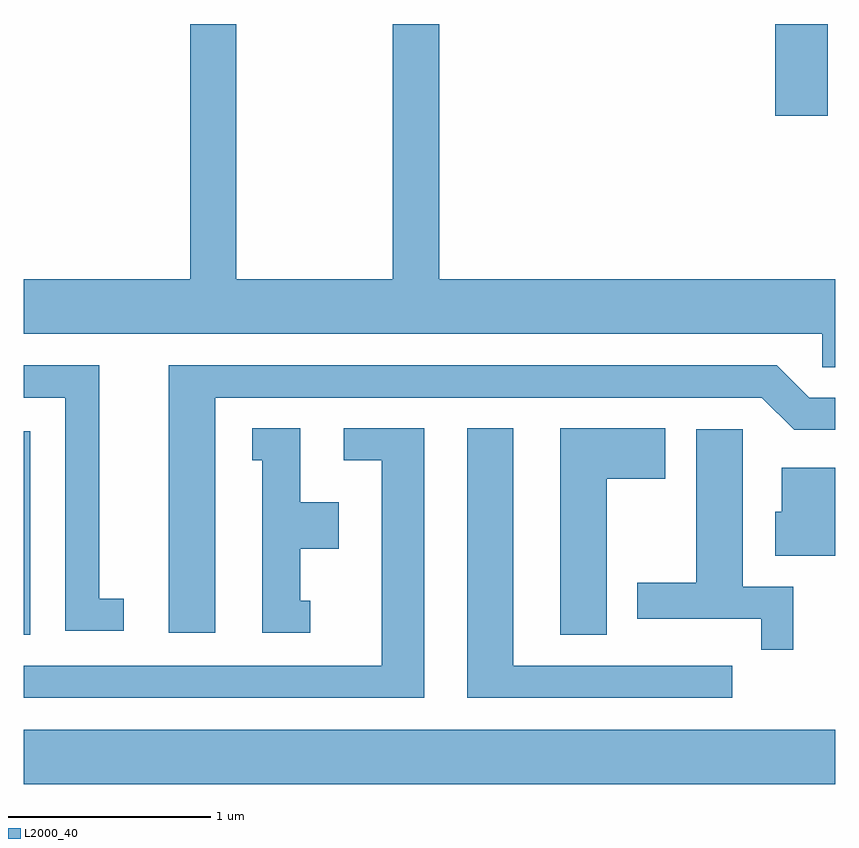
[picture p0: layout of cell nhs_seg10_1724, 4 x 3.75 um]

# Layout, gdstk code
import gdstk
lib = gdstk.Library(unit=1e-6, precision=1e-09)
def R(c, l, rs):  # rectangles x0, y0, x1, y1
    for r in rs: c.add(gdstk.rectangle(r[:2], r[2:], *l))
def P(c, l, *ps):  # polygons
    for p in ps: c.add(gdstk.Polygon(p, *l))
L2000_40 = (2000, 40)

nhs_seg10_1724 = lib.new_cell('nhs_seg10_1724')
R(nhs_seg10_1724, L2000_40, [(235.611,2142.776,239.611,2143.044), (235.611,2143.511,235.644,2144.514), (239.316,2146.071,239.574,2146.522)])
P(nhs_seg10_1724, L2000_40, [(239.611,2145.264),(237.659,2145.264),(237.659,2146.522),(237.431,2146.522),(237.431,2145.264),(236.659,2145.264),(236.659,2146.522),(236.431,2146.522),(236.431,2145.264),(235.611,2145.264),(235.611,2144.996),(239.546,2144.996),(239.546,2144.831),(239.611,2144.831)],
  [(236.554,2144.681),(239.249,2144.681),(239.409,2144.521),(239.611,2144.521),(239.611,2144.679),(239.482,2144.679),(239.322,2144.839),(236.326,2144.839),(236.326,2143.521),(236.554,2143.521)],
  [(236.103,2143.689),(235.984,2143.689),(235.984,2144.839),(235.611,2144.839),(235.611,2144.681),(235.816,2144.681),(235.816,2143.531),(236.103,2143.531)],
  [(238.484,2144.281),(238.774,2144.281),(238.774,2144.529),(238.256,2144.529),(238.256,2143.511),(238.484,2143.511)],
  [(237.584,2144.529),(237.188,2144.529),(237.188,2144.371),(237.376,2144.371),(237.376,2143.359),(235.611,2143.359),(235.611,2143.201),(237.584,2143.201)],
  [(239.103,2143.359),(238.024,2143.359),(238.024,2144.529),(237.796,2144.529),(237.796,2143.201),(239.103,2143.201)],
  [(237.023,2143.679),(236.974,2143.679),(236.974,2143.936),(237.164,2143.936),(237.164,2144.164),(236.974,2144.164),(236.974,2144.529),(236.738,2144.529),(236.738,2144.371),(236.786,2144.371),(236.786,2143.521),(237.023,2143.521)],
  [(239.404,2143.749),(239.154,2143.749),(239.154,2144.524),(238.926,2144.524),(238.926,2143.769),(238.636,2143.769),(238.636,2143.591),(239.246,2143.591),(239.246,2143.438),(239.404,2143.438)],
  [(239.611,2144.334),(239.346,2144.334),(239.346,2144.119),(239.316,2144.119),(239.316,2143.901),(239.611,2143.901)])

lib.write_gds('nhs_seg10_1724.gds')
